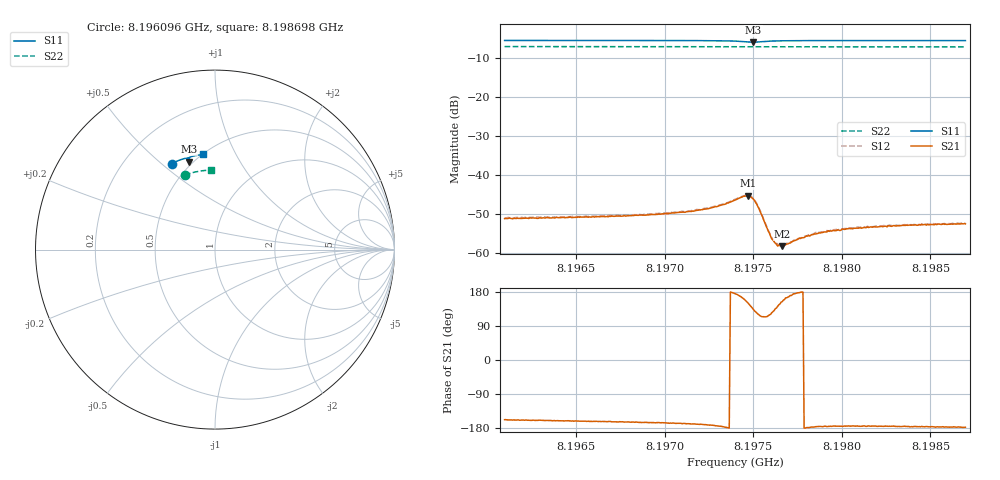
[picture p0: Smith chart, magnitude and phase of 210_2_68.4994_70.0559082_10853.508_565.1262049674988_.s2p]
#  HZ  S  RI  R  50.00
! Rohde & Schwarz Vector Network Analyzer
! Rohde-Schwarz,ZNB20-2Port,1311601062101988,3.16
! Created: UTC 3/20/2024, 5:13:07 PM
! freq[Hz]  re:S11  im:S11  re:S21  im:S21  re:S12  im:S12  re:S22  im:S22
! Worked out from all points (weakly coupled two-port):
!   401 points, 8.196096 GHz to 8.198698 GHz, reference 50 ohm
!   highest |S21| = -45.36 dB at 8.197468 GHz (marker M1); lowest = -58.3 dB at 8.197663 GHz (marker M2)
!   lowest |S11| = -5.8 dB at 8.197501 GHz (marker M3), VSWR 3.08, Z = 23.9 + j31.6 ohm
!   |S11| at or under -10 dB: nowhere
!   |S22| runs from -7.1 to -7.0 dB; largest |S21 - S12| = 0.00027
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8.1960956e9  -0.2415 0.4795  -0.00253 -0.00104  -0.00262 -0.000976  -0.1672 0.4156
8.1965314e9  -0.2128 0.4925  -0.00272 -0.00091  -0.00281 -0.000828  -0.144 0.4232
8.1969673e9  -0.1828 0.5036  -0.00303 -0.000809  -0.00314 -0.000682  -0.1202 0.43
8.1971495e9  -0.1687 0.5076  -0.00332 -0.000648  -0.00342 -0.00055  -0.1101 0.4322
8.1972406e9  -0.1608 0.5089  -0.00361 -0.000542  -0.00373 -0.000406  -0.1051 0.4334
8.1973186e9  -0.1528 0.5094  -0.00407 -0.000352  -0.00414 -0.000171  -0.1009 0.4342
8.1973967e9  -0.1433 0.5068  -0.00472 0.000398  -0.00481 0.000597  -0.0965 0.435
8.1974357e9  -0.1387 0.5018  -0.005 0.00135  -0.00505 0.00157  -0.0942 0.4353
8.1974683e9  -0.1382 0.4948  -0.00474 0.00259  -0.00472 0.00283  -0.0925 0.4354
8.1974813e9  -0.1398 0.4919  -0.00429 0.00308  -0.00429 0.00333  -0.0918 0.4354
8.1975008e9  -0.1443 0.4892  -0.00334 0.00355  -0.00325 0.00373  -0.0908 0.4355
8.1975268e9  -0.151 0.4906  -0.002 0.00332  -0.00191 0.00352  -0.0897 0.4358
8.1975919e9  -0.1541 0.503  -0.000861 0.00155  -0.000775 0.0016  -0.0862 0.4369
8.1976114e9  -0.1526 0.5057  -0.000884 0.00115  -0.000867 0.00121  -0.0851 0.4369
8.1976374e9  -0.1502 0.5086  -0.000952 0.000756  -0.000972 0.000854  -0.0836 0.4373
8.1976634e9  -0.1478 0.5107  -0.00109 0.000531  -0.00111 0.000587  -0.0821 0.4376
8.197761e9  -0.1389 0.5156  -0.00154 6.01e-05  -0.00152 0.000113  -0.0767 0.4384
8.1978326e9  -0.1328 0.5176  -0.0017 -8.53e-05  -0.00171 -2.43e-05  -0.0726 0.439
8.1979041e9  -0.1271 0.5194  -0.00184 -0.000176  -0.00191 -5.29e-05  -0.0686 0.4396
8.1980147e9  -0.1187 0.5215  -0.00198 -0.000206  -0.00204 -9.58e-05  -0.0624 0.4403
8.1982685e9  -0.1 0.5254  -0.00219 -0.0002  -0.00225 -8.25e-05  -0.0478 0.4415
8.1986978e9  -0.0691 0.5299  -0.00234 -0.000105  -0.00238 1.07e-05  -0.0237 0.4429
